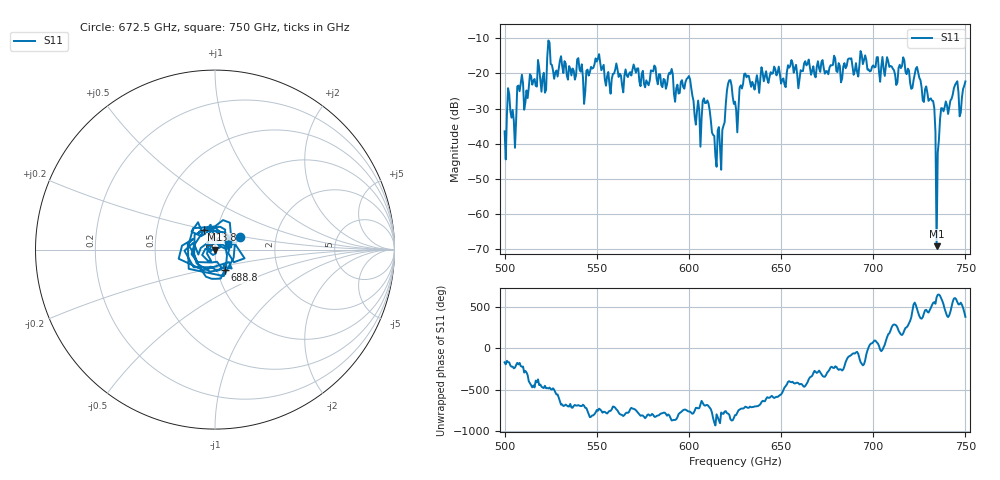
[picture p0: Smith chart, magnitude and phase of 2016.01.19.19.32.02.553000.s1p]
!Created with skrf (http://scikit-rf.org).
# GHz S RI R 50.0
!freq ReS11 ImS11
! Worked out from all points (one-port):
!   401 points, 500 GHz to 750 GHz, reference 50 ohm
!   lowest |S11| = -69.2 dB at 734.4 GHz (marker M1), VSWR 1.00, Z = 50 - j0.0342 ohm
!   |S11| at or under -10 dB: start of sweep to end of sweep
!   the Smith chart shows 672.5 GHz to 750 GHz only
!   S11 on the Smith chart (normalised r, x): 672.5 GHz: 1.31, +0.18; 688.8 GHz: 1.08, -0.25; 723.8 GHz: 0.86, +0.19; 750 GHz: 1.15, +0.07
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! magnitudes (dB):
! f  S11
! 500 GHz  -36.5
! 502.5 GHz  -25.8
! 505 GHz  -33.5
! 508.1 GHz  -25.0
! 511.9 GHz  -24.8
! 521.2 GHz  -19.8
! 524.4 GHz  -11.2
! 531.2 GHz  -17.9
! 562.5 GHz  -20.1
! 590 GHz  -20.1
! 593.8 GHz  -23.2
! 600 GHz  -20.7
! 605 GHz  -27.7
! 609.4 GHz  -28.4
! 616.2 GHz  -35.3
! 621.9 GHz  -22.0
! 625 GHz  -28.0
! 631.2 GHz  -21.1
! 656.2 GHz  -17.1
! 672.5 GHz  -16.2
! 687.5 GHz  -15.8
! 688.8 GHz  -17.9
! 718.8 GHz  -18.6
! 723.8 GHz  -18.1
! 731.9 GHz  -27.7
! 734.4 GHz  -69.2
! 738.1 GHz  -30.8
! 750 GHz  -22.3
